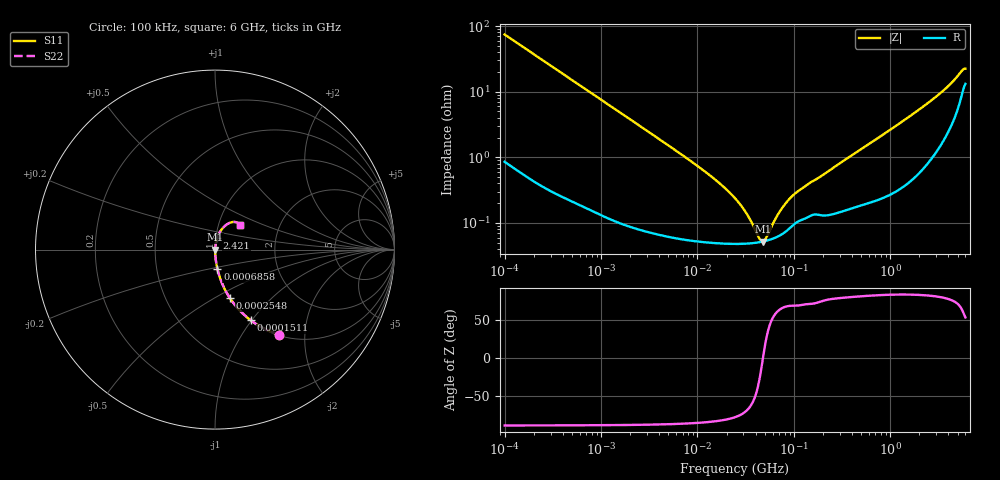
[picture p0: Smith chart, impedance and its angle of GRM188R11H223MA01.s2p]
!Murata Part Number: GRM188R11H223MA01
!These Parameters are Measured in Series Mode Connection
!Data Generated on Mar 30, 2021
!  o--ll--o
!Port1  Port2
!  o------o
!Operation Temp=25[degC], DC Bias Voltage=0[V]
!Freq. Start=100[kHz] Stop=6[GHz] 401[Steps]
# Hz S RI R 50
!Freq.(Hz) S11(Real) S11(Imag) S21(Real) S21(Imag) S12(Real) S12(Imag) S22(Real) S22(Imag)
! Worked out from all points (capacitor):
!   401 points, 100 kHz to 6 GHz, reference 50 ohm
!   read as one part in series: C = 21.3 nF near 105.7 kHz
!   lowest |Z| = 52.1 mohm at 47.4 MHz (marker M1)
!   series resonance near 47.74 MHz, so ESL is about 520 pH
!   S11 on the Smith chart (normalised r, x): 100 kHz: 1.02, -1.49; 151.1 kHz: 1.01, -0.99; 254.8 kHz: 1.01, -0.59; 685.8 kHz: 1.00, -0.22; 2.421 GHz: 1.02, +0.13; 6 GHz: 1.26, +0.36
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100000  0.3588 -0.4739  0.6412 0.4739  0.6412 0.4739  0.3588 -0.4739
151071  0.1995 -0.3939  0.8005 0.3939  0.8005 0.3939  0.1995 -0.3939
254767  0.0824 -0.2692  0.9176 0.2692  0.9176 0.2692  0.0824 -0.2692
631452  0.0158 -0.1174  0.9842 0.1174  0.9842 0.1174  0.0158 -0.1174
685767  0.0136 -0.1084  0.9864 0.1084  0.9864 0.1084  0.0136 -0.1084
1481314  0.00363 -0.051  0.9964 0.051  0.9964 0.051  0.00363 -0.051
3987316  0.00102 -0.019  0.999 0.019  0.999 0.019  0.00102 -0.019
1.337449e7  0.000528 -0.00532  0.9995 0.00532  0.9995 0.00532  0.000528 -0.00532
2.517799e7  0.000484 -0.00222  0.9995 0.00222  0.9995 0.00222  0.000484 -0.00222
3.314933e7  0.000487 -0.00121  0.9995 0.00121  0.9995 0.00121  0.000487 -0.00121
4.36444e7  0.000508 -0.000293  0.9995 0.000293  0.9995 0.000293  0.000508 -0.000293
4.739851e7  0.00052 -2.33e-05  0.9995 2.33e-05  0.9995 2.33e-05  0.00052 -2.33e-05
5.147553e7  0.000535 0.000246  0.9995 -0.000246  0.9995 -0.000246  0.000535 0.000246
6.777267e7  0.00062 0.00117  0.9994 -0.00117  0.9994 -0.00117  0.00062 0.00117
8.44535e7  0.000766 0.00195  0.9992 -0.00195  0.9992 -0.00195  0.000766 0.00195
1.0524e8  0.00101 0.0027  0.999 -0.0027  0.999 -0.0027  0.00101 0.0027
1.546735e8  0.00133 0.00407  0.9987 -0.00407  0.9987 -0.00407  0.00133 0.00407
9.76689e8  0.0033 0.0255  0.9967 -0.0255  0.9967 -0.0255  0.0033 0.0255
2.420771e9  0.0121 0.0645  0.9879 -0.0645  0.9879 -0.0645  0.0121 0.0645
4.313271e9  0.046 0.1231  0.954 -0.1231  0.954 -0.1231  0.046 0.1231
5.374892e9  0.0982 0.1536  0.9018 -0.1536  0.9018 -0.1536  0.0982 0.1536
6e9  0.1388 0.1383  0.8612 -0.1383  0.8612 -0.1383  0.1388 0.1383
